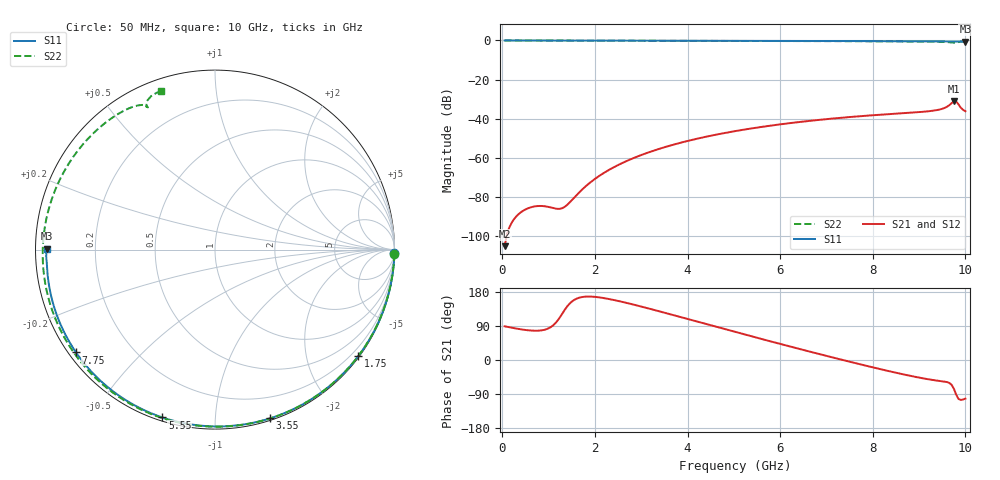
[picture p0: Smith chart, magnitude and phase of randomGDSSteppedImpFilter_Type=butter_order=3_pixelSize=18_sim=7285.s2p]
! freq	dB(S11)	phase(S11)	dB(S12)	phase(S12)
!  dB(S21)	phase(S21)	dB(S22)	phase(S22)
!S-par simulation data
#  GHz  S  DB  R 50
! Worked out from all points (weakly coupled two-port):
!   200 points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, 50 MHz to 10 GHz, reference 50 ohm
!   highest |S21| = -31.06 dB at 9.75 GHz (marker M1); lowest = -105.0 dB at 50 MHz (marker M2)
!   lowest |S11| = -0.6 dB at 10 GHz (marker M3), VSWR 31.40, Z = 1.59 + j0.15 ohm
!   |S11| at or under -10 dB: nowhere
!   |S22| runs from -1.1 to 0.0 dB; largest |S21 - S12| = 0
!   S11 on the Smith chart (normalised r, x): 50 MHz: open; 1.75 GHz: 0.03, -3.02; 3.55 GHz: 0.02, -1.38; 5.55 GHz: 0.02, -0.73; 7.75 GHz: 0.02, -0.33; 10 GHz: 0.03, +0.00
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0.05  -0.00 -1.1  -105.04 88.9  -105.04 88.9  -0.00 -1.4
0.75  -0.02 -15.9  -84.58 77.2  -84.58 77.2  -0.03 -21.0
1.55  -0.04 -32.6  -80.30 158.4  -80.30 158.4  -0.05 -42.9
1.75  -0.05 -36.6  -75.54 166.6  -75.54 166.6  -0.06 -48.3
2.05  -0.05 -42.7  -69.86 166.0  -69.86 166.0  -0.07 -56.2
2.45  -0.06 -50.7  -64.22 157.3  -64.22 157.3  -0.08 -66.6
2.9  -0.08 -59.5  -59.42 144.2  -59.42 144.2  -0.10 -78.0
3.4  -0.09 -69.1  -55.26 128.2  -55.26 128.2  -0.12 -90.3
3.55  -0.10 -71.9  -54.19 123.3  -54.19 123.3  -0.12 -93.9
4.25  -0.12 -84.7  -49.93 100.0  -49.93 100.0  -0.15 -110.5
5.05  -0.15 -98.9  -46.20 73.4  -46.20 73.4  -0.19 -128.9
5.55  -0.18 -107.4  -44.31 57.0  -44.31 57.0  -0.22 -140.3
6.7  -0.24 -126.5  -40.89 20.2  -40.89 20.2  -0.31 -166.4
7.75  -0.33 -143.5  -38.63 -12.0  -38.63 -12.0  -0.40 168.6
8.35  -0.38 -153.1  -37.62 -29.4  -37.62 -29.4  -0.47 153.4
8.9  -0.44 -162.1  -36.75 -44.1  -36.75 -44.1  -0.54 138.7
9.4  -0.50 -170.3  -35.48 -54.5  -35.48 -54.5  -0.66 124.3
9.6  -0.53 -173.5  -33.89 -58.1  -33.89 -58.1  -0.80 118.2
9.75  -0.54 -175.9  -31.06 -75.4  -31.06 -75.4  -1.15 115.3
9.8  -0.53 -176.8  -31.11 -91.0  -31.11 -91.0  -1.07 115.7
9.9  -0.53 -178.6  -34.30 -105.5  -34.30 -105.5  -0.67 112.6
10  -0.55 179.7  -36.10 -101.9  -36.10 -101.9  -0.59 108.7
